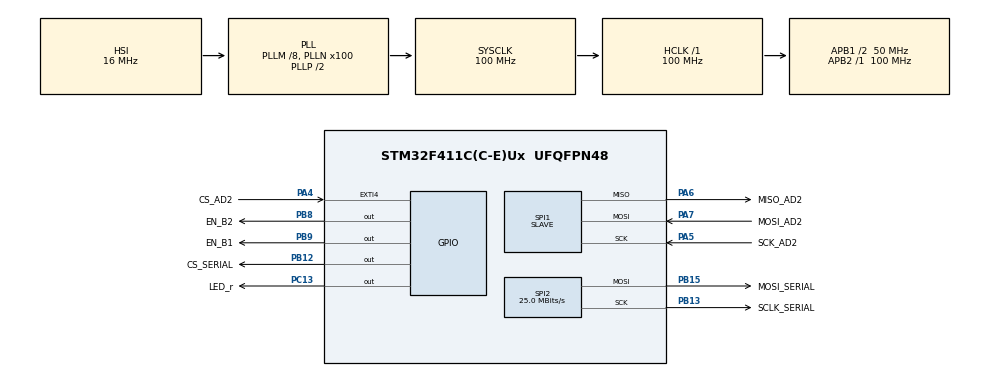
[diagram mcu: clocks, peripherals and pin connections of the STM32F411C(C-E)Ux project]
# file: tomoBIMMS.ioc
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Mcu.Family=STM32F4
Mcu.Name=STM32F411C(C-E)Ux
Mcu.Package=UFQFPN48
NVIC.EXTI4_IRQn=true\:0\:0\:false\:false\:true\:true\:true\:true
NVIC.PriorityGroup=NVIC_PRIORITYGROUP_4
PA13.Mode=Serial_Wire
PA13.Signal=SYS_JTMS-SWDIO
PA14.Mode=Serial_Wire
PA14.Signal=SYS_JTCK-SWCLK
PA4.GPIO_Label=CS_AD2
PA4.GPIO_ModeDefaultEXTI=GPIO_MODE_IT_FALLING
PA4.GPIO_PuPd=GPIO_PULLUP
PA4.Signal=GPXTI4
PA5.GPIO_Label=SCK_AD2
PA5.Mode=Full_Duplex_Slave
PA5.Signal=SPI1_SCK
PA6.GPIO_Label=MISO_AD2
PA6.Mode=Full_Duplex_Slave
PA6.Signal=SPI1_MISO
PA7.GPIO_Label=MOSI_AD2
PA7.Mode=Full_Duplex_Slave
PA7.Signal=SPI1_MOSI
PB12.GPIO_Label=CS_SERIAL
PB12.Signal=GPIO_Output
PB13.GPIO_Label=SCLK_SERIAL
PB13.Mode=TX_Only_Simplex_Unidirect_Master
PB13.Signal=SPI2_SCK
PB15.GPIO_Label=MOSI_SERIAL
PB15.Mode=TX_Only_Simplex_Unidirect_Master
PB15.Signal=SPI2_MOSI
PB8.GPIO_Label=EN_B2
PB8.Signal=GPIO_Output
PB9.GPIO_Label=EN_B1
PB9.Signal=GPIO_Output
PC13-ANTI_TAMP.GPIO_Label=LED_r
PC13-ANTI_TAMP.Signal=GPIO_Output
PH0\ -\ OSC_IN.Mode=HSE-External-Oscillator
PH0\ -\ OSC_IN.Signal=RCC_OSC_IN
PH1\ -\ OSC_OUT.Mode=HSE-External-Oscillator
PH1\ -\ OSC_OUT.Signal=RCC_OSC_OUT
ProjectManager.HeapSize=0x200
ProjectManager.StackSize=0x400
ProjectManager.TargetToolchain=STM32CubeIDE
RCC.48MHZClocksFreq_Value=50000000
RCC.AHBFreq_Value=100000000
RCC.APB1CLKDivider=RCC_HCLK_DIV2
RCC.APB1Freq_Value=50000000
RCC.APB1TimFreq_Value=100000000
RCC.APB2Freq_Value=100000000
RCC.APB2TimFreq_Value=100000000
RCC.CortexFreq_Value=100000000
RCC.HCLKFreq_Value=100000000
RCC.HSE_VALUE=25000000
RCC.HSI_VALUE=16000000
RCC.LSE_VALUE=32768
RCC.PLLM=8
RCC.PLLN=100
RCC.SYSCLKFreq_VALUE=100000000
RCC.SYSCLKSource=RCC_SYSCLKSOURCE_PLLCLK
RCC.VCOOutputFreq_Value=200000000
SPI1.CLKPhase=SPI_PHASE_2EDGE
SPI1.CLKPolarity=SPI_POLARITY_HIGH
SPI1.Direction=SPI_DIRECTION_2LINES
SPI1.Mode=SPI_MODE_SLAVE
SPI1.VirtualType=VM_SLAVE
SPI2.BaudRatePrescaler=SPI_BAUDRATEPRESCALER_2
SPI2.CalculateBaudRate=25.0 MBits/s
SPI2.Direction=SPI_DIRECTION_2LINES
SPI2.Mode=SPI_MODE_MASTER
SPI2.VirtualType=VM_MASTER
board=custom

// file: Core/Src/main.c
/* USER CODE BEGIN Header */
/**
  ******************************************************************************
  * @file           : main.c
  * @brief          : Main program body
  ******************************************************************************
  * @attention
  *
  * Copyright (c) 2023 STMicroelectronics.
  * All rights reserved.
  *
  * This software is licensed under terms that can be found in the LICENSE file
  * in the root directory of this software component.
  * If no LICENSE file comes with this software, it is provided AS-IS.
  *
  ******************************************************************************
  */
/* USER CODE END Header */
#include "main.h"

SPI_HandleTypeDef hspi1;
SPI_HandleTypeDef hspi2;

/* USER CODE BEGIN PV */
volatile long int data_from_AD2;
long int data_to_AD2;
uint8_t rxBuff[4];
uint8_t txBuff[4];
short unsigned int state;
volatile short unsigned int new_32bitsSPI;

/* USER CODE END PV */

void SystemClock_Config(void);
static void MX_GPIO_Init(void);
static void MX_SPI1_Init(void);
static void MX_SPI2_Init(void);
/* USER CODE BEGIN PFP */

void decode_data(long int data)
{
    short int command = (data >> shift_com) & 0xFF ;
    data = data& Mask_data;

	 if (command == set_sw_cmd)
	 {
		 HAL_GPIO_WritePin(GPIOB, CS_SERIAL_Pin, 0); //selector of slave, active on LOW state
		 HAL_SPI_Transmit(&hspi2, (uint8_t*)(&data),3, HAL_MAX_DELAY); //(SPI used , buffer, size of data, time of transmission)
		 HAL_GPIO_WritePin(GPIOB, CS_SERIAL_Pin, 1);
	 }

}

/* USER CODE END PFP */

int main(void)
{

  /* MCU Configuration--------------------------------------------------------*/

  /* Reset of all peripherals, Initializes the Flash interface and the Systick. */
  HAL_Init();

  /* Configure the system clock */
  SystemClock_Config();

  /* USER CODE BEGIN SysInit */
  //Init Global Variables
  for (short unsigned int i = 0; i<4; i++)
      {
         rxBuff[i]=0;
         txBuff[i]=0;
      }

  data_from_AD2 = 0;
  new_32bitsSPI = 0;

  /* USER CODE END SysInit */

  /* Initialize all configured peripherals */
  MX_GPIO_Init();
  MX_SPI1_Init();
  MX_SPI2_Init();
  /* USER CODE BEGIN 2 */
  HAL_GPIO_WritePin(LED_r_GPIO_Port, LED_r_Pin, GPIO_PIN_SET); // Pin active low

  HAL_GPIO_WritePin(GPIOB, EN_B1_Pin, GPIO_PIN_SET);		//BIMMS #1 Switches enable
  HAL_GPIO_WritePin(GPIOB, EN_B2_Pin, GPIO_PIN_RESET);		//BIMMS #2 Switches disable

  HAL_GPIO_WritePin(GPIOB, CS_SERIAL_Pin, GPIO_PIN_SET);	//Serial CS pin High

  /* USER CODE END 2 */

  /* Infinite loop */
  /* USER CODE BEGIN WHILE */
  while (1)
  {

	  if (new_32bitsSPI)
	  {
		  new_32bitsSPI =0;
		  decode_data(data_from_AD2);

	  }

    /* USER CODE END WHILE */

  }
}

void SystemClock_Config(void)
{
  RCC_OscInitTypeDef RCC_OscInitStruct = {0};
  RCC_ClkInitTypeDef RCC_ClkInitStruct = {0};

  /** Configure the main internal regulator output voltage
  */
  __HAL_RCC_PWR_CLK_ENABLE();
  __HAL_PWR_VOLTAGESCALING_CONFIG(PWR_REGULATOR_VOLTAGE_SCALE1);

  /** Initializes the RCC Oscillators according to the specified parameters
  * in the RCC_OscInitTypeDef structure.
  */
  RCC_OscInitStruct.OscillatorType = RCC_OSCILLATORTYPE_HSI;
  RCC_OscInitStruct.HSIState = RCC_HSI_ON;
  RCC_OscInitStruct.HSICalibrationValue = RCC_HSICALIBRATION_DEFAULT;
  RCC_OscInitStruct.PLL.PLLState = RCC_PLL_ON;
  RCC_OscInitStruct.PLL.PLLSource = RCC_PLLSOURCE_HSI;
  RCC_OscInitStruct.PLL.PLLM = 8;
  RCC_OscInitStruct.PLL.PLLN = 100;
  RCC_OscInitStruct.PLL.PLLP = RCC_PLLP_DIV2;
  RCC_OscInitStruct.PLL.PLLQ = 4;
  if (HAL_RCC_OscConfig(&RCC_OscInitStruct) != HAL_OK)
  {
    Error_Handler();
  }

  /** Initializes the CPU, AHB and APB buses clocks
  */
  RCC_ClkInitStruct.ClockType = RCC_CLOCKTYPE_HCLK|RCC_CLOCKTYPE_SYSCLK
                              |RCC_CLOCKTYPE_PCLK1|RCC_CLOCKTYPE_PCLK2;
  RCC_ClkInitStruct.SYSCLKSource = RCC_SYSCLKSOURCE_PLLCLK;
  RCC_ClkInitStruct.AHBCLKDivider = RCC_SYSCLK_DIV1;
  RCC_ClkInitStruct.APB1CLKDivider = RCC_HCLK_DIV2;
  RCC_ClkInitStruct.APB2CLKDivider = RCC_HCLK_DIV1;

  if (HAL_RCC_ClockConfig(&RCC_ClkInitStruct, FLASH_LATENCY_3) != HAL_OK)
  {
    Error_Handler();
  }
}

static void MX_SPI1_Init(void)
{

  /* SPI1 parameter configuration*/
  hspi1.Instance = SPI1;
  hspi1.Init.Mode = SPI_MODE_SLAVE;
  hspi1.Init.Direction = SPI_DIRECTION_2LINES;
  hspi1.Init.DataSize = SPI_DATASIZE_8BIT;
  hspi1.Init.CLKPolarity = SPI_POLARITY_HIGH;
  hspi1.Init.CLKPhase = SPI_PHASE_2EDGE;
  hspi1.Init.NSS = SPI_NSS_SOFT;
  hspi1.Init.FirstBit = SPI_FIRSTBIT_MSB;
  hspi1.Init.TIMode = SPI_TIMODE_DISABLE;
  hspi1.Init.CRCCalculation = SPI_CRCCALCULATION_DISABLE;
  hspi1.Init.CRCPolynomial = 10;
  if (HAL_SPI_Init(&hspi1) != HAL_OK)
  {
    Error_Handler();
  }

}

static void MX_SPI2_Init(void)
{

  /* SPI2 parameter configuration*/
  hspi2.Instance = SPI2;
  hspi2.Init.Mode = SPI_MODE_MASTER;
  hspi2.Init.Direction = SPI_DIRECTION_2LINES;
  hspi2.Init.DataSize = SPI_DATASIZE_8BIT;
  hspi2.Init.CLKPolarity = SPI_POLARITY_LOW;
  hspi2.Init.CLKPhase = SPI_PHASE_1EDGE;
  hspi2.Init.NSS = SPI_NSS_SOFT;
  hspi2.Init.BaudRatePrescaler = SPI_BAUDRATEPRESCALER_2;
  hspi2.Init.FirstBit = SPI_FIRSTBIT_MSB;
  hspi2.Init.TIMode = SPI_TIMODE_DISABLE;
  hspi2.Init.CRCCalculation = SPI_CRCCALCULATION_DISABLE;
  hspi2.Init.CRCPolynomial = 10;
  if (HAL_SPI_Init(&hspi2) != HAL_OK)
  {
    Error_Handler();
  }

}

static void MX_GPIO_Init(void)
{
  GPIO_InitTypeDef GPIO_InitStruct = {0};

  /* GPIO Ports Clock Enable */
  __HAL_RCC_GPIOC_CLK_ENABLE();
  __HAL_RCC_GPIOH_CLK_ENABLE();
  __HAL_RCC_GPIOA_CLK_ENABLE();
  __HAL_RCC_GPIOB_CLK_ENABLE();

  /*Configure GPIO pin Output Level */
  HAL_GPIO_WritePin(LED_r_GPIO_Port, LED_r_Pin, GPIO_PIN_RESET);

  /*Configure GPIO pin Output Level */
  HAL_GPIO_WritePin(GPIOB, CS_SERIAL_Pin|EN_B2_Pin|EN_B1_Pin, GPIO_PIN_RESET);

  /*Configure GPIO pin : LED_r_Pin */
  GPIO_InitStruct.Pin = LED_r_Pin;
  GPIO_InitStruct.Mode = GPIO_MODE_OUTPUT_PP;
  GPIO_InitStruct.Pull = GPIO_NOPULL;
  GPIO_InitStruct.Speed = GPIO_SPEED_FREQ_LOW;
  HAL_GPIO_Init(LED_r_GPIO_Port, &GPIO_InitStruct);

  /*Configure GPIO pin : CS_AD2_Pin */
  GPIO_InitStruct.Pin = CS_AD2_Pin;
  GPIO_InitStruct.Mode = GPIO_MODE_IT_FALLING;
  GPIO_InitStruct.Pull = GPIO_PULLUP;
  HAL_GPIO_Init(CS_AD2_GPIO_Port, &GPIO_InitStruct);

  /*Configure GPIO pins : CS_SERIAL_Pin EN_B2_Pin EN_B1_Pin */
  GPIO_InitStruct.Pin = CS_SERIAL_Pin|EN_B2_Pin|EN_B1_Pin;
  GPIO_InitStruct.Mode = GPIO_MODE_OUTPUT_PP;
  GPIO_InitStruct.Pull = GPIO_NOPULL;
  GPIO_InitStruct.Speed = GPIO_SPEED_FREQ_LOW;
  HAL_GPIO_Init(GPIOB, &GPIO_InitStruct);

  /* EXTI interrupt init*/
  HAL_NVIC_SetPriority(EXTI4_IRQn, 0, 0);
  HAL_NVIC_EnableIRQ(EXTI4_IRQn);

}

/* USER CODE BEGIN 4 */
void HAL_GPIO_EXTI_Callback(uint16_t GPIO_Pin)
{
    if(GPIO_Pin == CS_AD2_Pin)
    {
    	HAL_SPI_TransmitReceive(&hspi1, txBuff,rxBuff, 4, 10);
        data_from_AD2 = (rxBuff[0] << 24) | (rxBuff[1] << 16) | (rxBuff[2] << 8) | (rxBuff[3]);

        HAL_SPI_DeInit(&hspi1); // reset the state machine back to original state
        HAL_SPI_Init(&hspi1) ;	//avoid false detection (dirty hack but ...)

        if (data_from_AD2)
        {
        	//decode_data(data_from_AD2);
        	new_32bitsSPI = 1;
        }

    }
}

/* USER CODE END 4 */

void Error_Handler(void)
{
  __disable_irq();
  while (1)
  {
  }
}
